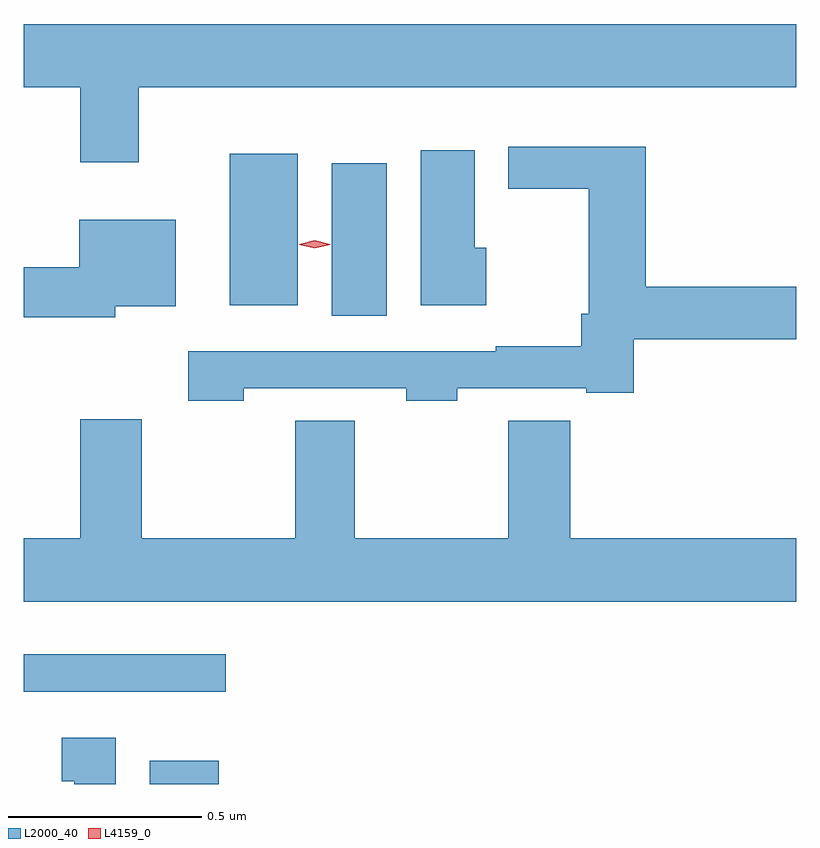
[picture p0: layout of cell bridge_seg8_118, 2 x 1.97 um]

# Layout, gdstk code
import gdstk
lib = gdstk.Library(unit=1e-6, precision=1e-09)
def R(c, l, rs):  # rectangles x0, y0, x1, y1
    for r in rs: c.add(gdstk.rectangle(r[:2], r[2:], *l))
def P(c, l, *ps):  # polygons
    for p in ps: c.add(gdstk.Polygon(p, *l))
L2000_40 = (2000, 40)
L4159_0 = (4159, 0)

bridge_seg8_118 = lib.new_cell('bridge_seg8_118')
R(bridge_seg8_118, L2000_40, [(810.011,1140.004,810.19,1140.064), (809.685,1140.243,810.208,1140.34), (810.482,1141.217,810.625,1141.612), (810.218,1141.244,810.394,1141.636)])
P(bridge_seg8_118, L2000_40, [(809.983,1141.808),(811.685,1141.808),(811.685,1141.972),(809.685,1141.972),(809.685,1141.808),(809.831,1141.808),(809.831,1141.614),(809.983,1141.614)],
  [(810.255,1141.029),(810.675,1141.029),(810.675,1140.997),(810.807,1140.997),(810.807,1141.029),(811.142,1141.029),(811.142,1141.017),(811.265,1141.017),(811.265,1141.156),(811.685,1141.156),(811.685,1141.292),(811.295,1141.292),(811.295,1141.654),(810.939,1141.654),(810.939,1141.545),(811.148,1141.545),(811.148,1141.222),(811.129,1141.222),(811.129,1141.138),(810.907,1141.138),(810.907,1141.125),(810.111,1141.125),(810.111,1140.997),(810.255,1140.997)],
  [(810.883,1141.392),(810.853,1141.392),(810.853,1141.645),(810.713,1141.645),(810.713,1141.244),(810.883,1141.244)],
  [(809.922,1141.241),(810.079,1141.241),(810.079,1141.465),(809.828,1141.465),(809.828,1141.342),(809.685,1141.342),(809.685,1141.213),(809.922,1141.213)],
  [(811.685,1140.64),(811.1,1140.64),(811.1,1140.944),(810.94,1140.944),(810.94,1140.64),(810.542,1140.64),(810.542,1140.944),(810.388,1140.944),(810.388,1140.64),(809.991,1140.64),(809.991,1140.949),(809.831,1140.949),(809.831,1140.64),(809.685,1140.64),(809.685,1140.476),(811.685,1140.476)],
  [(809.923,1140.124),(809.783,1140.124),(809.783,1140.011),(809.816,1140.011),(809.816,1140.004),(809.923,1140.004)])
P(bridge_seg8_118, L4159_0, [(810.438,1141.391),(810.398,1141.401),(810.398,1141.401),(810.398,1141.402),(810.438,1141.412),(810.479,1141.402),(810.479,1141.401),(810.479,1141.401)])

lib.write_gds('bridge_seg8_118.gds')
